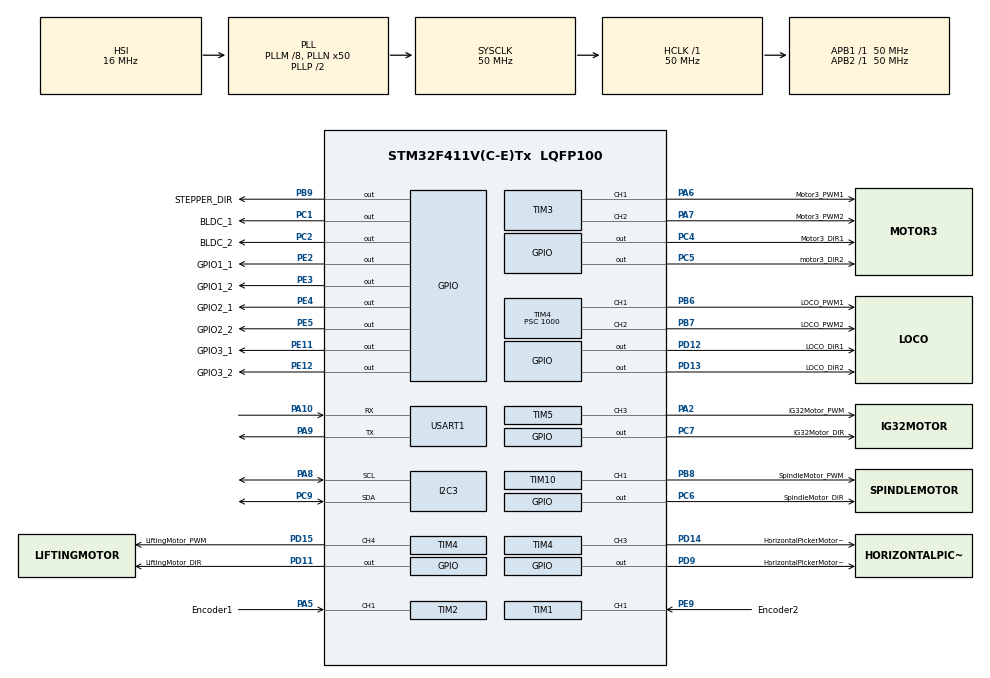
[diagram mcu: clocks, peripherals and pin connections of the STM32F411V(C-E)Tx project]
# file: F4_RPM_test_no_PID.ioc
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Dma.Request0=USART1_RX
Dma.USART1_RX.0.Direction=DMA_PERIPH_TO_MEMORY
Dma.USART1_RX.0.FIFOMode=DMA_FIFOMODE_DISABLE
Dma.USART1_RX.0.Instance=DMA2_Stream2
Dma.USART1_RX.0.MemDataAlignment=DMA_MDATAALIGN_BYTE
Dma.USART1_RX.0.MemInc=DMA_MINC_ENABLE
Dma.USART1_RX.0.Mode=DMA_CIRCULAR
Dma.USART1_RX.0.PeriphDataAlignment=DMA_PDATAALIGN_BYTE
Dma.USART1_RX.0.PeriphInc=DMA_PINC_DISABLE
Dma.USART1_RX.0.Priority=DMA_PRIORITY_LOW
Mcu.Family=STM32F4
Mcu.Name=STM32F411V(C-E)Tx
Mcu.Package=LQFP100
NVIC.DMA2_Stream2_IRQn=true\:0\:0\:false\:false\:true\:false\:true
NVIC.PriorityGroup=NVIC_PRIORITYGROUP_4
NVIC.TIM1_BRK_TIM9_IRQn=true\:0\:0\:false\:false\:true\:true\:true
NVIC.TIM1_CC_IRQn=true\:0\:0\:false\:false\:true\:true\:true
NVIC.TIM1_UP_TIM10_IRQn=true\:0\:0\:false\:false\:true\:true\:true
NVIC.TIM2_IRQn=true\:0\:0\:false\:false\:true\:true\:true
NVIC.TIM4_IRQn=true\:0\:0\:false\:false\:true\:true\:true
NVIC.TIM5_IRQn=true\:0\:0\:false\:false\:true\:true\:true
PA10.Mode=Asynchronous
PA10.Signal=USART1_RX
PA2.GPIO_Label=IG32Motor_PWM
PA2.Signal=S_TIM5_CH3
PA5.GPIO_Label=Encoder1
PA5.Signal=S_TIM2_CH1_ETR
PA6.GPIO_Label=Motor3_PWM1
PA6.Signal=S_TIM3_CH1
PA7.GPIO_Label=Motor3_PWM2
PA7.Signal=S_TIM3_CH2
PA8.Mode=I2C
PA8.Signal=I2C3_SCL
PA9.Mode=Asynchronous
PA9.Signal=USART1_TX
PB6.GPIO_Label=LOCO_PWM1
PB6.Signal=S_TIM4_CH1
PB7.GPIO_Label=LOCO_PWM2
PB7.Signal=S_TIM4_CH2
PB8.GPIO_Label=SpindleMotor_PWM
PB8.Signal=S_TIM10_CH1
PB9.GPIO_Label=STEPPER_DIR
PB9.Signal=GPIO_Output
PC1.GPIO_Label=BLDC_1
PC1.Signal=GPIO_Output
PC2.GPIO_Label=BLDC_2
PC2.Signal=GPIO_Output
PC4.GPIO_Label=Motor3_DIR1
PC4.Signal=GPIO_Output
PC5.GPIO_Label=motor3_DIR2
PC5.Signal=GPIO_Output
PC6.GPIO_Label=SpindleMotor_DIR
PC6.Signal=GPIO_Output
PC7.GPIO_Label=IG32Motor_DIR
PC7.Signal=GPIO_Output
PC9.Mode=I2C
PC9.Signal=I2C3_SDA
PD11.GPIO_Label=LiftingMotor_DIR
PD11.Signal=GPIO_Output
PD12.GPIO_Label=LOCO_DIR1
PD12.Signal=GPIO_Output
PD13.GPIO_Label=LOCO_DIR2
PD13.Signal=GPIO_Output
PD14.GPIO_Label=HorizontalPickerMotor_PWM
PD14.Signal=S_TIM4_CH3
PD15.GPIO_Label=LiftingMotor_PWM
PD15.Signal=S_TIM4_CH4
PD9.GPIO_Label=HorizontalPickerMotor_DIR
PD9.Signal=GPIO_Output
PE11.GPIO_Label=GPIO3_1
PE11.Signal=GPIO_Output
PE12.GPIO_Label=GPIO3_2
PE12.Signal=GPIO_Output
PE2.GPIO_Label=GPIO1_1
PE2.Signal=GPIO_Output
PE3.GPIO_Label=GPIO1_2
PE3.Signal=GPIO_Output
PE4.GPIO_Label=GPIO2_1
PE4.Signal=GPIO_Output
PE5.GPIO_Label=GPIO2_2
PE5.Signal=GPIO_Output
PE9.GPIO_Label=Encoder2
PE9.Signal=S_TIM1_CH1
ProjectManager.HeapSize=0x200
ProjectManager.StackSize=0x400
ProjectManager.TargetToolchain=STM32CubeIDE
RCC.48MHZClocksFreq_Value=25000000
RCC.AHBFreq_Value=50000000
RCC.APB1Freq_Value=50000000
RCC.APB1TimFreq_Value=50000000
RCC.APB2Freq_Value=50000000
RCC.APB2TimFreq_Value=50000000
RCC.CortexFreq_Value=50000000
RCC.HCLKFreq_Value=50000000
RCC.HSE_VALUE=25000000
RCC.HSI_VALUE=16000000
RCC.LSE_VALUE=32768
RCC.PLLM=8
RCC.PLLN=50
RCC.SYSCLKFreq_VALUE=50000000
RCC.SYSCLKSource=RCC_SYSCLKSOURCE_PLLCLK
RCC.VCOOutputFreq_Value=100000000
SH.S_TIM10_CH1.0=TIM10_CH1,PWM Generation1 CH1
SH.S_TIM1_CH1.0=TIM1_CH1,Input_Capture1_from_TI1
SH.S_TIM2_CH1_ETR.0=TIM2_CH1,Input_Capture1_from_TI1
SH.S_TIM3_CH1.0=TIM3_CH1,PWM Generation1 CH1
SH.S_TIM3_CH2.0=TIM3_CH2,PWM Generation2 CH2
SH.S_TIM4_CH1.0=TIM4_CH1,PWM Generation1 CH1
SH.S_TIM4_CH2.0=TIM4_CH2,PWM Generation2 CH2
SH.S_TIM4_CH3.0=TIM4_CH3,PWM Generation3 CH3
SH.S_TIM4_CH4.0=TIM4_CH4,PWM Generation4 CH4
SH.S_TIM5_CH3.0=TIM5_CH3,PWM Generation3 CH3
TIM1.Channel-Input_Capture1_from_TI1=TIM_CHANNEL_1
TIM10.Channel=TIM_CHANNEL_1
TIM10.Period=1000-1
TIM10.Prescaler=1000-1
TIM2.Channel-Input_Capture1_from_TI1=TIM_CHANNEL_1
TIM3.Channel-PWM\ Generation1\ CH1=TIM_CHANNEL_1
TIM3.Channel-PWM\ Generation2\ CH2=TIM_CHANNEL_2
TIM4.Channel-PWM\ Generation1\ CH1=TIM_CHANNEL_1
TIM4.Channel-PWM\ Generation2\ CH2=TIM_CHANNEL_2
TIM4.Channel-PWM\ Generation3\ CH3=TIM_CHANNEL_3
TIM4.Channel-PWM\ Generation4\ CH4=TIM_CHANNEL_4
TIM4.Period=100
TIM4.Prescaler=1000
TIM5.AutoReloadPreload=TIM_AUTORELOAD_PRELOAD_DISABLE
TIM5.Channel-PWM\ Generation3\ CH3=TIM_CHANNEL_3
TIM5.Period=1000-1
TIM5.Prescaler=1000-1
TIM9.Period=100
TIM9.Prescaler=50000-1
USART1.VirtualMode=VM_ASYNC
VP_TIM10_VS_ClockSourceINT.Mode=Enable_Timer
VP_TIM1_VS_ClockSourceINT.Mode=Internal
VP_TIM2_VS_ClockSourceINT.Mode=Internal
VP_TIM5_VS_ClockSourceINT.Mode=Internal
VP_TIM9_VS_ClockSourceINT.Mode=Internal
board=custom

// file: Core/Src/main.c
/* USER CODE BEGIN Header */
/**
  ******************************************************************************
  * @file           : main.c
  * @brief          : Main program body
  ******************************************************************************
  * @attention
  *
  * <h2><center>&copy; Copyright (c) 2022 STMicroelectronics.
  * All rights reserved.</center></h2>
  *
  * This software component is licensed by ST under BSD 3-Clause license,
  * the "License"; You may not use this file except in compliance with the
  * License. You may obtain a copy of the License at:
  *                        opensource.org/licenses/BSD-3-Clause
  *
  ******************************************************************************
  */
/* USER CODE END Header */
#include "main.h"

I2C_HandleTypeDef hi2c3;

TIM_HandleTypeDef htim1;
TIM_HandleTypeDef htim2;
TIM_HandleTypeDef htim3;
TIM_HandleTypeDef htim4;
TIM_HandleTypeDef htim5;
TIM_HandleTypeDef htim9;
TIM_HandleTypeDef htim10;

UART_HandleTypeDef huart1;
DMA_HandleTypeDef hdma_usart1_rx;

void SystemClock_Config(void);
static void MX_GPIO_Init(void);
static void MX_DMA_Init(void);
static void MX_USART1_UART_Init(void);
static void MX_TIM2_Init(void);
static void MX_TIM4_Init(void);
static void MX_TIM1_Init(void);
static void MX_TIM9_Init(void);
static void MX_TIM5_Init(void);
static void MX_TIM10_Init(void);
static void MX_TIM3_Init(void);
static void MX_I2C3_Init(void);

/* USER CODE BEGIN 0 */
char rxData[3];
int lPID = 0;
int rPID = 0;
int lFlag = 0;
int rFlag = 0;
int flag = 0;
int check = 0;
uint32_t IC_Value1 = 0;
uint32_t IC_Value2 = 0;
uint32_t Difference = 0;
uint32_t Frequency = 0;
int chee =0;
uint8_t Is_First_Captured = 0;  // 0- not captured, 1- captured

uint32_t IC_Value12 = 0;
uint32_t IC_Value22 = 0;
uint32_t Difference2 = 0;
uint32_t Frequency2 = 0;
uint8_t Is_First_Captured2 = 0;  // 0- not captured, 1- captured
int PID = 0;
uint32_t errorSum = 0;
int target = 500;
float KI = 0.5;
float KP = 2;
float KD = 3;
int speed=0;
int speed2 = 0;
int prev_speed=0;
int start_stepper = 0;
int stepperIsOn = 0;
int countServo = 0;
int debounce = 0;
int checked = 0;
int stepperCount = 0;
int countBldc = 0;
int bldcDebounce = 0;
int linearDebounce=5;
int dir1=0;
int dir2=0;

//if PWM is not working then use max 40kHz of frequency for cytron driver

void HAL_TIM_IC_CaptureCallback(TIM_HandleTypeDef *htim)
{
//	HAL_GPIO_WritePin(GPIOD, GPIO_PIN_12, GPIO_PIN_SET);  //direction set

 if (htim == &htim1)  // if interrupt source is channel 1
 {
  if (Is_First_Captured==0)  // is the first value captured ?
  {
   IC_Value1 = HAL_TIM_ReadCapturedValue(htim, TIM_CHANNEL_1);  // capture the first value
   Is_First_Captured =1;  // set the first value captured as true
  }

  else if (Is_First_Captured)  // if the first is captured
  {
   IC_Value2 = HAL_TIM_ReadCapturedValue(htim, TIM_CHANNEL_1);  // capture second value

   if (IC_Value2 > IC_Value1)
   {
    Difference = IC_Value2-IC_Value1;   // calculate the difference
   }

   else if (IC_Value2 < IC_Value1)
   {
    Difference = ((0xffff-IC_Value1)+IC_Value2) +1;
   }

   else
   {
    Error_Handler();
   }

   Frequency = HAL_RCC_GetPCLK2Freq()/(50*Difference);  // calculate frequency

   Is_First_Captured = 0;  // reset the first captured
  }
 }

////////////////////////////////////////////////////////////////////////////////////////////////////////////////

 if (htim == &htim2)  // if interrupt source is channel 1
  {
   if (Is_First_Captured2==0)  // is the first value captured ?
   {
    IC_Value12 = HAL_TIM_ReadCapturedValue(htim, TIM_CHANNEL_1);  // capture the first value
    Is_First_Captured2 =1;  // set the first value captured as true
   }

   else if (Is_First_Captured2)  // if the first is captured
   {
    IC_Value2 = HAL_TIM_ReadCapturedValue(htim, TIM_CHANNEL_1);  // capture second value

    if (IC_Value22 > IC_Value12)
    {
     Difference2 = IC_Value2-IC_Value12;   // calculate the difference
    }

    else if (IC_Value22 < IC_Value12)
    {
     Difference2 = ((0xffff-IC_Value12)+IC_Value22) +1;
    }

    else
    {
     Error_Handler();
    }

    Frequency2 = HAL_RCC_GetPCLK2Freq()/(50*Difference2);  // calculate frequency

    Is_First_Captured2 = 0;  // reset the first captured
   }
  }
}

void stepper(){
	HAL_GPIO_WritePin(GPIOB,STEPPER_DIR_Pin,GPIO_PIN_SET);
	while(stepperCount<10){
		__HAL_TIM_SET_COMPARE(&htim10, TIM_CHANNEL_1,50);
	}
	start_stepper=0;
	stepperCount=0;
	__HAL_TIM_SET_COMPARE(&htim10, TIM_CHANNEL_1,0);
}

void servo(){
	//90 degree rotation
	if(countServo==0 && debounce==0){
		//__HAL_TIM_SET_COMPARE(&htim4, TIM_CHANNEL_4,50);
		__HAL_TIM_SET_COMPARE(&htim5, TIM_CHANNEL_3,125);  // duty cycle is 2.5 ms
	countServo=1;
	debounce =5;
	}else if(countServo==1 && debounce==0){
		__HAL_TIM_SET_COMPARE(&htim5, TIM_CHANNEL_3,50);
			countServo=0;
			debounce =5;
	}
}

//void linearActuator(int dir){
//	if(dir1 == 0 && linearDebounce==0){
//		 //HAL_GPIO_WritePin(GPIOC, LinearActuator_DIR1_Pin, GPIO_PIN_SET);
//		 //HAL_GPIO_WritePin(GPIOC, LinearActuator_DIR2_Pin, GPIO_PIN_RESET);
//		 dir1 = 1;
//		 linearDebounce= 5;
//	}else if(dir1 == 1 && linearDebounce==0){
//		 HAL_GPIO_WritePin(GPIOC, LinearActuator_DIR1_Pin, GPIO_PIN_RESET);
//				 dir1=0;
//				 linearDebounce=5;
//	}
//	else if(dir2==0 && linearDebounce==0){
//		HAL_GPIO_WritePin(GPIOC, LinearActuator_DIR1_Pin, GPIO_PIN_SET);
//		 HAL_GPIO_WritePin(GPIOC, LinearActuator_DIR2_Pin, GPIO_PIN_SET);
//		 dir2 = 1;
//		 linearDebounce=5;
//	}else if(dir2==1 && linearDebounce==0){
//		HAL_GPIO_WritePin(GPIOC, LinearActuator_DIR1_Pin, GPIO_PIN_RESET);
//
//		 dir2 = 0;
//		 linearDebounce=5;
//	}
//
//}
/* USER CODE END 0 */

int main(void)
{

  /* MCU Configuration--------------------------------------------------------*/

  /* Reset of all peripherals, Initializes the Flash interface and the Systick. */
  HAL_Init();

  /* Configure the system clock */
  SystemClock_Config();

  /* Initialize all configured peripherals */
  MX_GPIO_Init();
  MX_DMA_Init();
  MX_USART1_UART_Init();
  MX_TIM2_Init();
  MX_TIM4_Init();
  MX_TIM1_Init();
  MX_TIM9_Init();
  MX_TIM5_Init();
  MX_TIM10_Init();
  MX_TIM3_Init();
  MX_I2C3_Init();
  /* USER CODE BEGIN 2 */
  HAL_TIM_PWM_Start(&htim4, TIM_CHANNEL_1);//Locomotion
  HAL_TIM_PWM_Start(&htim4, TIM_CHANNEL_2);//Locomotion

	HAL_TIM_PWM_Start(&htim4, TIM_CHANNEL_3);//Passing
	HAL_TIM_PWM_Start(&htim4, TIM_CHANNEL_4);//Lifting

	 HAL_TIM_PWM_Start(&htim5, TIM_CHANNEL_1);//BLDC1
	 HAL_TIM_PWM_Start(&htim5, TIM_CHANNEL_2);//BLDC2
	 HAL_TIM_PWM_Start(&htim5, TIM_CHANNEL_3);//Servo

	 HAL_TIM_PWM_Start(&htim10, TIM_CHANNEL_1);//Stepper

	HAL_TIM_IC_Start_IT(&htim1, TIM_CHANNEL_1);//Encoder
	HAL_TIM_IC_Start_IT(&htim2, TIM_CHANNEL_1);

	HAL_TIM_Base_Start_IT(&htim9);
	HAL_UART_Receive_DMA(&huart1, (uint8_t *)rxData, 3);
	__HAL_TIM_SET_COMPARE(&htim4, TIM_CHANNEL_4,50);
	__HAL_TIM_SET_COMPARE(&htim5, TIM_CHANNEL_1,0);//bldc default 0
	__HAL_TIM_SET_COMPARE(&htim5, TIM_CHANNEL_2,0);
	__HAL_TIM_SET_COMPARE(&htim5, TIM_CHANNEL_3,0);//ig32 default 0

	////////////////////////////

	__HAL_TIM_SET_COMPARE(&htim5, TIM_CHANNEL_2,100);
  /* USER CODE END 2 */

  /* Infinite loop */
  while (1)
  {

    /* USER CODE BEGIN 3 */

//	  __HAL_TIM_SET_COMPARE(&htim4, TIM_CHANNEL_1,100);

	  if(flag){
	  	  	  		speed = Frequency/30;
	  	  	  		speed2 = Frequency2/30;
	  	  	  		errorSum = errorSum + (target - speed)*0.1;
	  	  	  	PID = (target-speed)*KP + KD*(speed - prev_speed)/0.1;// + KI*errorSum;
	  	  	  		  if(PID<0){
	  	  	  			  PID = 0;
	  	  	  		  }else if(PID>100){
	  	  	  			  PID = 100;
	  	  	  		  }
	  	  	  		  //__HAL_TIM_SET_COMPARE(&htim4, TIM_CHANNEL_1,PID);// PID*100/target);
	  	  	  		  prev_speed = speed;
	  	  	  		  flag = 0;
	  	  	  	  }

	  	  if(rxData[0] == 1) //up//Button Up
	  	  		{
	  		  HAL_GPIO_WritePin(GPIOD, LOCO_DIR1_Pin, GPIO_PIN_RESET);
	  		  HAL_GPIO_WritePin(GPIOD, LOCO_DIR2_Pin, GPIO_PIN_SET);

	  		  __HAL_TIM_SET_COMPARE(&htim4, TIM_CHANNEL_1,100);
	  		  __HAL_TIM_SET_COMPARE(&htim4, TIM_CHANNEL_2,100);
	  	  		}

	  	  //Down // Button Down
	  	  		else if (rxData[0] == 2)
	  	  		{
	  	  		  HAL_GPIO_WritePin(GPIOD, LOCO_DIR1_Pin, GPIO_PIN_SET);
	  	  		  HAL_GPIO_WritePin(GPIOD, LOCO_DIR2_Pin, GPIO_PIN_RESET);

	  	  		__HAL_TIM_SET_COMPARE(&htim4, TIM_CHANNEL_1,100);
	  	  		__HAL_TIM_SET_COMPARE(&htim4, TIM_CHANNEL_2,100);
	  	  		}

	  	  		//left // Button Left
	  	  		else if (rxData[0] == 3)
	  	  		{
	  	  			HAL_GPIO_WritePin(GPIOD, LOCO_DIR1_Pin, GPIO_PIN_SET);
	  	  			HAL_GPIO_WritePin(GPIOD, LOCO_DIR2_Pin, GPIO_PIN_SET);

	  	  		    __HAL_TIM_SET_COMPARE(&htim4,TIM_CHANNEL_1,100);
	  		        __HAL_TIM_SET_COMPARE(&htim4, TIM_CHANNEL_2,100);
	  	    }

	  	  	  //right // Button Rights
	  	  		else if (rxData[0] == 4)
	  	  		{
	  	  			HAL_GPIO_WritePin(GPIOD, LOCO_DIR1_Pin, GPIO_PIN_RESET);
				    HAL_GPIO_WritePin(GPIOD, LOCO_DIR2_Pin, GPIO_PIN_RESET);

					__HAL_TIM_SET_COMPARE(&htim4, TIM_CHANNEL_1,100);
				    __HAL_TIM_SET_COMPARE(&htim4, TIM_CHANNEL_2,100);
	  	    }

	  	  	  //Horizontal Picker //Button Square
	  	  	else if (rxData[0] == 5)
	  	  	{
	  	  		//Passing on
	  	  		HAL_GPIO_WritePin(GPIOD, HorizontalPickerMotor_DIR_Pin, GPIO_PIN_SET);

	  	  	 	__HAL_TIM_SET_COMPARE(&htim4, TIM_CHANNEL_3,80);
//
//	  	  	if(countBldc==0 && bldcDebounce == 0){
//	  	  					__HAL_TIM_SET_COMPARE(&htim5, TIM_CHANNEL_1,1000);
//	  	  					__HAL_TIM_SET_COMPARE(&htim5, TIM_CHANNEL_2,1000);
//	  	  						countBldc=1;
//	  	  						bldcDebounce = 5;
//	  	  						}
//	  	  					else if(countBldc==1 && bldcDebounce == 0){
//	  	  						__HAL_TIM_SET_COMPARE(&htim5, TIM_CHANNEL_1,0);
//	  	  						__HAL_TIM_SET_COMPARE(&htim5, TIM_CHANNEL_2,0);
//	  	  						countBldc=0;
//	  	  					bldcDebounce = 5;
//	  	  		  	  		}
	  	  	}

	  	 //toggle HorizontalPickerMOtor//Button Circle
	  	  	else if (rxData[0] == 6)
	  	  	 {
	  	  	HAL_GPIO_WritePin(GPIOD, HorizontalPickerMotor_DIR_Pin, GPIO_PIN_RESET);

	  	  		  	  	 	__HAL_TIM_SET_COMPARE(&htim4, TIM_CHANNEL_3,80);

	  	  	 }

	  	    //Spindle motor on  //Button L1
	  	  	else if(rxData[0] == 7){
//	  	  	 HAL_GPIO_WritePin(GPIOC, LinearActuator_DIR1_Pin, GPIO_PIN_SET);
//			 HAL_GPIO_WritePin(GPIOC, LinearActuator_DIR2_Pin, GPIO_PIN_SET);
//				//linearActuator(1);
	  	HAL_GPIO_WritePin(GPIOC, SpindleMotor_DIR_Pin, GPIO_PIN_RESET);

	  		  	  		  	  	 	__HAL_TIM_SET_COMPARE(&htim10, TIM_CHANNEL_1,400);

	  	  	}
//
//			//IG32 ON	  //Button R1 // L298
	  	  	else if(rxData[0] == 9){
//	  	  	 HAL_GPIO_WritePin(GPIOC, LinearActuator_DIR1_Pin, GPIO_PIN_SET);
//	  	  			 HAL_GPIO_WritePin(GPIOC, LinearActuator_DIR2_Pin, GPIO_PIN_RESET);
//	  	  			 //linearActuator(0);

	  	  	HAL_GPIO_WritePin(GPIOC, IG32Motor_DIR_Pin, GPIO_PIN_RESET);

	  	  		  	  		  	  	 	__HAL_TIM_SET_COMPARE(&htim5, TIM_CHANNEL_3,400);

	  	  	}

	  	   //BLDC ON //Button L2
	  	  	else if(rxData[0] == 8){
////	  	  	 HAL_GPIO_WritePin(GPIOA, BLDC_PWM1_Pin, GPIO_PIN_SET);
////	  	  	 HAL_GPIO_WritePin(GPIOA, BLDC_PWM2_Pin, GPIO_PIN_SET);
//				if(countBldc==0 && bldcDebounce == 0){
//					HAL_GPIO_WritePin(GPIOC, BLDC_1_Pin, GPIO_PIN_SET);
//					HAL_GPIO_WritePin(GPIOC, BLDC_2_Pin, GPIO_PIN_SET);
//					countBldc=1;
//					bldcDebounce = 5;
//					}
//				else if(countBldc==1 && bldcDebounce == 0){
//					HAL_GPIO_WritePin(GPIOC, BLDC_2_Pin, GPIO_PIN_RESET);
//				 HAL_GPIO_WritePin(GPIOC, BLDC_1_Pin, GPIO_PIN_RESET);
//					countBldc=0;
//				bldcDebounce = 5;
//	  	  		}
//	  	  	__HAL_TIM_SET_COMPARE(&htim5, TIM_CHANNEL_1,1000);
//	  	  	__HAL_TIM_SET_COMPARE(&htim5, TIM_CHANNEL_2,1000);
	  	  	}

	  	  // Stepper 90 deg//Button R2
	  	  	else if(rxData[0] == 10){
				start_stepper = 1;
				stepper();
	  	  	}
	  	  	  //Lifting Up //Button Triangle
	  	  	else if(rxData[0] == 11){
				 HAL_GPIO_WritePin(GPIOD, LiftingMotor_DIR_Pin, GPIO_PIN_SET);

				 __HAL_TIM_SET_COMPARE(&htim4, TIM_CHANNEL_4,90);
	  	  	}
	  	  	  //Lifting Down// Button Cross
	  	  	else if(rxData[0] == 12){
	  	  	  	  HAL_GPIO_WritePin(GPIOD,  LiftingMotor_DIR_Pin, GPIO_PIN_RESET);

				  __HAL_TIM_SET_COMPARE(&htim4, TIM_CHANNEL_4,90);
	  	  	}
	  	  	else{
	  	  	  	  		  	//repeating block to set PID frequency and setting tp zero
//	  	  	  	  	  check = 0;
//	  	  	  	  	HAL_GPIO_WritePin(GPIOC, GPIO_PIN_7, GPIO_PIN_RESET);
//	  	  	  	  		  	  	HAL_GPIO_WritePin(GPIOC, GPIO_PIN_8, GPIO_PIN_RESET);
	  	  //	HAL_GPIO_WritePin(GPIOC, LinearActuator_DIR1_Pin, GPIO_PIN_RESET); //linearActuator
	  	  	  	  		  	__HAL_TIM_SET_COMPARE(&htim4, TIM_CHANNEL_1,0);
	  	  	  	  		  	__HAL_TIM_SET_COMPARE(&htim4, TIM_CHANNEL_2,0);

	  	  	  	  		  	HAL_GPIO_WritePin(GPIOD, GPIO_PIN_14,GPIO_PIN_RESET );
	  	  	  	  		  	HAL_GPIO_WritePin(GPIOD, GPIO_PIN_15,GPIO_PIN_RESET );

	  	  	  	  	 __HAL_TIM_SET_COMPARE(&htim4,TIM_CHANNEL_1,0);//locomotion 0
	  	  	  	  	 __HAL_TIM_SET_COMPARE(&htim4, TIM_CHANNEL_2,0);

	  	  	  	  		  		__HAL_TIM_SET_COMPARE(&htim4, TIM_CHANNEL_3,0);//horiz picking 0
	  	  	  	  		__HAL_TIM_SET_COMPARE(&htim4, TIM_CHANNEL_4,0);//lifting 0
//
//	  	  	  	  __HAL_TIM_SET_COMPARE(&htim5, TIM_CHANNEL_1,0);//BLDC 0
//	  	  	  	  	  	  	__HAL_TIM_SET_COMPARE(&htim5, TIM_CHANNEL_2,0);//BLDC 0

	  	  	  	  	__HAL_TIM_SET_COMPARE(&htim5, TIM_CHANNEL_3,0);//Spindle
	  	  	  	  	  	  	__HAL_TIM_SET_COMPARE(&htim10, TIM_CHANNEL_1,0);//IG32

	  	  	  	  		  	    }
  }
  /* USER CODE END 3 */
}

void SystemClock_Config(void)
{
  RCC_OscInitTypeDef RCC_OscInitStruct = {0};
  RCC_ClkInitTypeDef RCC_ClkInitStruct = {0};

  /** Configure the main internal regulator output voltage
  */
  __HAL_RCC_PWR_CLK_ENABLE();
  __HAL_PWR_VOLTAGESCALING_CONFIG(PWR_REGULATOR_VOLTAGE_SCALE1);
  /** Initializes the RCC Oscillators according to the specified parameters
  * in the RCC_OscInitTypeDef structure.
  */
  RCC_OscInitStruct.OscillatorType = RCC_OSCILLATORTYPE_HSI;
  RCC_OscInitStruct.HSIState = RCC_HSI_ON;
  RCC_OscInitStruct.HSICalibrationValue = RCC_HSICALIBRATION_DEFAULT;
  RCC_OscInitStruct.PLL.PLLState = RCC_PLL_ON;
  RCC_OscInitStruct.PLL.PLLSource = RCC_PLLSOURCE_HSI;
  RCC_OscInitStruct.PLL.PLLM = 8;
  RCC_OscInitStruct.PLL.PLLN = 50;
  RCC_OscInitStruct.PLL.PLLP = RCC_PLLP_DIV2;
  RCC_OscInitStruct.PLL.PLLQ = 4;
  if (HAL_RCC_OscConfig(&RCC_OscInitStruct) != HAL_OK)
  {
    Error_Handler();
  }
  /** Initializes the CPU, AHB and APB buses clocks
  */
  RCC_ClkInitStruct.ClockType = RCC_CLOCKTYPE_HCLK|RCC_CLOCKTYPE_SYSCLK
                              |RCC_CLOCKTYPE_PCLK1|RCC_CLOCKTYPE_PCLK2;
  RCC_ClkInitStruct.SYSCLKSource = RCC_SYSCLKSOURCE_PLLCLK;
  RCC_ClkInitStruct.AHBCLKDivider = RCC_SYSCLK_DIV1;
  RCC_ClkInitStruct.APB1CLKDivider = RCC_HCLK_DIV1;
  RCC_ClkInitStruct.APB2CLKDivider = RCC_HCLK_DIV1;

  if (HAL_RCC_ClockConfig(&RCC_ClkInitStruct, FLASH_LATENCY_1) != HAL_OK)
  {
    Error_Handler();
  }
}

static void MX_I2C3_Init(void)
{

  hi2c3.Instance = I2C3;
  hi2c3.Init.ClockSpeed = 100000;
  hi2c3.Init.DutyCycle = I2C_DUTYCYCLE_2;
  hi2c3.Init.OwnAddress1 = 0;
  hi2c3.Init.AddressingMode = I2C_ADDRESSINGMODE_7BIT;
  hi2c3.Init.DualAddressMode = I2C_DUALADDRESS_DISABLE;
  hi2c3.Init.OwnAddress2 = 0;
  hi2c3.Init.GeneralCallMode = I2C_GENERALCALL_DISABLE;
  hi2c3.Init.NoStretchMode = I2C_NOSTRETCH_DISABLE;
  if (HAL_I2C_Init(&hi2c3) != HAL_OK)
  {
    Error_Handler();
  }

}

static void MX_TIM1_Init(void)
{

  TIM_ClockConfigTypeDef sClockSourceConfig = {0};
  TIM_MasterConfigTypeDef sMasterConfig = {0};
  TIM_IC_InitTypeDef sConfigIC = {0};

  htim1.Instance = TIM1;
  htim1.Init.Prescaler = 0;
  htim1.Init.CounterMode = TIM_COUNTERMODE_UP;
  htim1.Init.Period = 65535;
  htim1.Init.ClockDivision = TIM_CLOCKDIVISION_DIV1;
  htim1.Init.RepetitionCounter = 0;
  htim1.Init.AutoReloadPreload = TIM_AUTORELOAD_PRELOAD_DISABLE;
  if (HAL_TIM_Base_Init(&htim1) != HAL_OK)
  {
    Error_Handler();
  }
  sClockSourceConfig.ClockSource = TIM_CLOCKSOURCE_INTERNAL;
  if (HAL_TIM_ConfigClockSource(&htim1, &sClockSourceConfig) != HAL_OK)
  {
    Error_Handler();
  }
  if (HAL_TIM_IC_Init(&htim1) != HAL_OK)
  {
    Error_Handler();
  }
  sMasterConfig.MasterOutputTrigger = TIM_TRGO_RESET;
  sMasterConfig.MasterSlaveMode = TIM_MASTERSLAVEMODE_DISABLE;
  if (HAL_TIMEx_MasterConfigSynchronization(&htim1, &sMasterConfig) != HAL_OK)
  {
    Error_Handler();
  }
  sConfigIC.ICPolarity = TIM_INPUTCHANNELPOLARITY_RISING;
  sConfigIC.ICSelection = TIM_ICSELECTION_DIRECTTI;
  sConfigIC.ICPrescaler = TIM_ICPSC_DIV1;
  sConfigIC.ICFilter = 0;
  if (HAL_TIM_IC_ConfigChannel(&htim1, &sConfigIC, TIM_CHANNEL_1) != HAL_OK)
  {
    Error_Handler();
  }

}

static void MX_TIM2_Init(void)
{

  TIM_ClockConfigTypeDef sClockSourceConfig = {0};
  TIM_MasterConfigTypeDef sMasterConfig = {0};
  TIM_IC_InitTypeDef sConfigIC = {0};

  htim2.Instance = TIM2;
  htim2.Init.Prescaler = 0;
  htim2.Init.CounterMode = TIM_COUNTERMODE_UP;
  htim2.Init.Period = 4294967295;
  htim2.Init.ClockDivision = TIM_CLOCKDIVISION_DIV1;
  htim2.Init.AutoReloadPreload = TIM_AUTORELOAD_PRELOAD_DISABLE;
  if (HAL_TIM_Base_Init(&htim2) != HAL_OK)
  {
    Error_Handler();
  }
  sClockSourceConfig.ClockSource = TIM_CLOCKSOURCE_INTERNAL;
  if (HAL_TIM_ConfigClockSource(&htim2, &sClockSourceConfig) != HAL_OK)
  {
    Error_Handler();
  }
  if (HAL_TIM_IC_Init(&htim2) != HAL_OK)
  {
    Error_Handler();
  }
  sMasterConfig.MasterOutputTrigger = TIM_TRGO_RESET;
  sMasterConfig.MasterSlaveMode = TIM_MASTERSLAVEMODE_DISABLE;
  if (HAL_TIMEx_MasterConfigSynchronization(&htim2, &sMasterConfig) != HAL_OK)
  {
    Error_Handler();
  }
  sConfigIC.ICPolarity = TIM_INPUTCHANNELPOLARITY_RISING;
  sConfigIC.ICSelection = TIM_ICSELECTION_DIRECTTI;
  sConfigIC.ICPrescaler = TIM_ICPSC_DIV1;
  sConfigIC.ICFilter = 0;
  if (HAL_TIM_IC_ConfigChannel(&htim2, &sConfigIC, TIM_CHANNEL_1) != HAL_OK)
  {
    Error_Handler();
  }

}

static void MX_TIM3_Init(void)
{

  TIM_MasterConfigTypeDef sMasterConfig = {0};
  TIM_OC_InitTypeDef sConfigOC = {0};

  htim3.Instance = TIM3;
  htim3.Init.Prescaler = 0;
  htim3.Init.CounterMode = TIM_COUNTERMODE_UP;
  htim3.Init.Period = 65535;
  htim3.Init.ClockDivision = TIM_CLOCKDIVISION_DIV1;
  htim3.Init.AutoReloadPreload = TIM_AUTORELOAD_PRELOAD_DISABLE;
  if (HAL_TIM_PWM_Init(&htim3) != HAL_OK)
  {
    Error_Handler();
  }
  sMasterConfig.MasterOutputTrigger = TIM_TRGO_RESET;
  sMasterConfig.MasterSlaveMode = TIM_MASTERSLAVEMODE_DISABLE;
  if (HAL_TIMEx_MasterConfigSynchronization(&htim3, &sMasterConfig) != HAL_OK)
  {
    Error_Handler();
  }
  sConfigOC.OCMode = TIM_OCMODE_PWM1;
  sConfigOC.Pulse = 0;
  sConfigOC.OCPolarity = TIM_OCPOLARITY_HIGH;
  sConfigOC.OCFastMode = TIM_OCFAST_DISABLE;
  if (HAL_TIM_PWM_ConfigChannel(&htim3, &sConfigOC, TIM_CHANNEL_1) != HAL_OK)
  {
    Error_Handler();
  }
  if (HAL_TIM_PWM_ConfigChannel(&htim3, &sConfigOC, TIM_CHANNEL_2) != HAL_OK)
  {
    Error_Handler();
  }
  HAL_TIM_MspPostInit(&htim3);

}

static void MX_TIM4_Init(void)
{

  TIM_MasterConfigTypeDef sMasterConfig = {0};
  TIM_OC_InitTypeDef sConfigOC = {0};

  htim4.Instance = TIM4;
  htim4.Init.Prescaler = 1000;
  htim4.Init.CounterMode = TIM_COUNTERMODE_UP;
  htim4.Init.Period = 100;
  htim4.Init.ClockDivision = TIM_CLOCKDIVISION_DIV1;
  htim4.Init.AutoReloadPreload = TIM_AUTORELOAD_PRELOAD_DISABLE;
  if (HAL_TIM_PWM_Init(&htim4) != HAL_OK)
  {
    Error_Handler();
  }
  sMasterConfig.MasterOutputTrigger = TIM_TRGO_RESET;
  sMasterConfig.MasterSlaveMode = TIM_MASTERSLAVEMODE_DISABLE;
  if (HAL_TIMEx_MasterConfigSynchronization(&htim4, &sMasterConfig) != HAL_OK)
  {
    Error_Handler();
  }
  sConfigOC.OCMode = TIM_OCMODE_PWM1;
  sConfigOC.Pulse = 0;
  sConfigOC.OCPolarity = TIM_OCPOLARITY_HIGH;
  sConfigOC.OCFastMode = TIM_OCFAST_DISABLE;
  if (HAL_TIM_PWM_ConfigChannel(&htim4, &sConfigOC, TIM_CHANNEL_1) != HAL_OK)
  {
    Error_Handler();
  }
  if (HAL_TIM_PWM_ConfigChannel(&htim4, &sConfigOC, TIM_CHANNEL_2) != HAL_OK)
  {
    Error_Handler();
  }
  if (HAL_TIM_PWM_ConfigChannel(&htim4, &sConfigOC, TIM_CHANNEL_3) != HAL_OK)
  {
    Error_Handler();
  }
  if (HAL_TIM_PWM_ConfigChannel(&htim4, &sConfigOC, TIM_CHANNEL_4) != HAL_OK)
  {
    Error_Handler();
  }
  HAL_TIM_MspPostInit(&htim4);

}

static void MX_TIM5_Init(void)
{

  TIM_ClockConfigTypeDef sClockSourceConfig = {0};
  TIM_MasterConfigTypeDef sMasterConfig = {0};
  TIM_OC_InitTypeDef sConfigOC = {0};

  htim5.Instance = TIM5;
  htim5.Init.Prescaler = 1000-1;
  htim5.Init.CounterMode = TIM_COUNTERMODE_UP;
  htim5.Init.Period = 1000-1;
  htim5.Init.ClockDivision = TIM_CLOCKDIVISION_DIV1;
  htim5.Init.AutoReloadPreload = TIM_AUTORELOAD_PRELOAD_DISABLE;
  if (HAL_TIM_Base_Init(&htim5) != HAL_OK)
  {
    Error_Handler();
  }
  sClockSourceConfig.ClockSource = TIM_CLOCKSOURCE_INTERNAL;
  if (HAL_TIM_ConfigClockSource(&htim5, &sClockSourceConfig) != HAL_OK)
  {
    Error_Handler();
  }
  if (HAL_TIM_PWM_Init(&htim5) != HAL_OK)
  {
    Error_Handler();
  }
  sMasterConfig.MasterOutputTrigger = TIM_TRGO_RESET;
  sMasterConfig.MasterSlaveMode = TIM_MASTERSLAVEMODE_DISABLE;
  if (HAL_TIMEx_MasterConfigSynchronization(&htim5, &sMasterConfig) != HAL_OK)
  {
    Error_Handler();
  }
  sConfigOC.OCMode = TIM_OCMODE_PWM1;
  sConfigOC.Pulse = 0;
  sConfigOC.OCPolarity = TIM_OCPOLARITY_HIGH;
  sConfigOC.OCFastMode = TIM_OCFAST_DISABLE;
  if (HAL_TIM_PWM_ConfigChannel(&htim5, &sConfigOC, TIM_CHANNEL_3) != HAL_OK)
  {
    Error_Handler();
  }
  HAL_TIM_MspPostInit(&htim5);

}

static void MX_TIM9_Init(void)
{

  TIM_ClockConfigTypeDef sClockSourceConfig = {0};

  htim9.Instance = TIM9;
  htim9.Init.Prescaler = 50000-1;
  htim9.Init.CounterMode = TIM_COUNTERMODE_UP;
  htim9.Init.Period = 100;
  htim9.Init.ClockDivision = TIM_CLOCKDIVISION_DIV1;
  htim9.Init.AutoReloadPreload = TIM_AUTORELOAD_PRELOAD_DISABLE;
  if (HAL_TIM_Base_Init(&htim9) != HAL_OK)
  {
    Error_Handler();
  }
  sClockSourceConfig.ClockSource = TIM_CLOCKSOURCE_INTERNAL;
  if (HAL_TIM_ConfigClockSource(&htim9, &sClockSourceConfig) != HAL_OK)
  {
    Error_Handler();
  }

}

static void MX_TIM10_Init(void)
{

  TIM_OC_InitTypeDef sConfigOC = {0};

  htim10.Instance = TIM10;
  htim10.Init.Prescaler = 1000-1;
  htim10.Init.CounterMode = TIM_COUNTERMODE_UP;
  htim10.Init.Period = 1000-1;
  htim10.Init.ClockDivision = TIM_CLOCKDIVISION_DIV1;
  htim10.Init.AutoReloadPreload = TIM_AUTORELOAD_PRELOAD_DISABLE;
  if (HAL_TIM_Base_Init(&htim10) != HAL_OK)
  {
    Error_Handler();
  }
  if (HAL_TIM_PWM_Init(&htim10) != HAL_OK)
  {
    Error_Handler();
  }
  sConfigOC.OCMode = TIM_OCMODE_PWM1;
  sConfigOC.Pulse = 0;
  sConfigOC.OCPolarity = TIM_OCPOLARITY_HIGH;
  sConfigOC.OCFastMode = TIM_OCFAST_DISABLE;
  if (HAL_TIM_PWM_ConfigChannel(&htim10, &sConfigOC, TIM_CHANNEL_1) != HAL_OK)
  {
    Error_Handler();
  }
  HAL_TIM_MspPostInit(&htim10);

}

static void MX_USART1_UART_Init(void)
{

  huart1.Instance = USART1;
  huart1.Init.BaudRate = 115200;
  huart1.Init.WordLength = UART_WORDLENGTH_8B;
  huart1.Init.StopBits = UART_STOPBITS_1;
  huart1.Init.Parity = UART_PARITY_NONE;
  huart1.Init.Mode = UART_MODE_TX_RX;
  huart1.Init.HwFlowCtl = UART_HWCONTROL_NONE;
  huart1.Init.OverSampling = UART_OVERSAMPLING_16;
  if (HAL_UART_Init(&huart1) != HAL_OK)
  {
    Error_Handler();
  }

}

static void MX_DMA_Init(void)
{

  /* DMA controller clock enable */
  __HAL_RCC_DMA2_CLK_ENABLE();

  /* DMA interrupt init */
  /* DMA2_Stream2_IRQn interrupt configuration */
  HAL_NVIC_SetPriority(DMA2_Stream2_IRQn, 0, 0);
  HAL_NVIC_EnableIRQ(DMA2_Stream2_IRQn);

}

static void MX_GPIO_Init(void)
{
  GPIO_InitTypeDef GPIO_InitStruct = {0};

  /* GPIO Ports Clock Enable */
  __HAL_RCC_GPIOE_CLK_ENABLE();
  __HAL_RCC_GPIOC_CLK_ENABLE();
  __HAL_RCC_GPIOA_CLK_ENABLE();
  __HAL_RCC_GPIOD_CLK_ENABLE();
  __HAL_RCC_GPIOB_CLK_ENABLE();

  /*Configure GPIO pin Output Level */
  HAL_GPIO_WritePin(GPIOE, GPIO1_1_Pin|GPIO1_2_Pin|GPIO2_1_Pin|GPIO2_2_Pin
                          |GPIO3_1_Pin|GPIO3_2_Pin, GPIO_PIN_RESET);

  /*Configure GPIO pin Output Level */
  HAL_GPIO_WritePin(GPIOC, BLDC_1_Pin|BLDC_2_Pin|Motor3_DIR1_Pin|motor3_DIR2_Pin
                          |SpindleMotor_DIR_Pin|IG32Motor_DIR_Pin, GPIO_PIN_RESET);

  /*Configure GPIO pin Output Level */
  HAL_GPIO_WritePin(GPIOD, HorizontalPickerMotor_DIR_Pin|LiftingMotor_DIR_Pin|LOCO_DIR1_Pin|LOCO_DIR2_Pin, GPIO_PIN_RESET);

  /*Configure GPIO pin Output Level */
  HAL_GPIO_WritePin(STEPPER_DIR_GPIO_Port, STEPPER_DIR_Pin, GPIO_PIN_RESET);

  /*Configure GPIO pins : GPIO1_1_Pin GPIO1_2_Pin GPIO2_1_Pin GPIO2_2_Pin
                           GPIO3_1_Pin GPIO3_2_Pin */
  GPIO_InitStruct.Pin = GPIO1_1_Pin|GPIO1_2_Pin|GPIO2_1_Pin|GPIO2_2_Pin
                          |GPIO3_1_Pin|GPIO3_2_Pin;
  GPIO_InitStruct.Mode = GPIO_MODE_OUTPUT_PP;
  GPIO_InitStruct.Pull = GPIO_NOPULL;
  GPIO_InitStruct.Speed = GPIO_SPEED_FREQ_LOW;
  HAL_GPIO_Init(GPIOE, &GPIO_InitStruct);

  /*Configure GPIO pins : BLDC_1_Pin BLDC_2_Pin Motor3_DIR1_Pin motor3_DIR2_Pin
                           SpindleMotor_DIR_Pin IG32Motor_DIR_Pin */
  GPIO_InitStruct.Pin = BLDC_1_Pin|BLDC_2_Pin|Motor3_DIR1_Pin|motor3_DIR2_Pin
                          |SpindleMotor_DIR_Pin|IG32Motor_DIR_Pin;
  GPIO_InitStruct.Mode = GPIO_MODE_OUTPUT_PP;
  GPIO_InitStruct.Pull = GPIO_NOPULL;
  GPIO_InitStruct.Speed = GPIO_SPEED_FREQ_LOW;
  HAL_GPIO_Init(GPIOC, &GPIO_InitStruct);

  /*Configure GPIO pins : HorizontalPickerMotor_DIR_Pin LiftingMotor_DIR_Pin LOCO_DIR1_Pin LOCO_DIR2_Pin */
  GPIO_InitStruct.Pin = HorizontalPickerMotor_DIR_Pin|LiftingMotor_DIR_Pin|LOCO_DIR1_Pin|LOCO_DIR2_Pin;
  GPIO_InitStruct.Mode = GPIO_MODE_OUTPUT_PP;
  GPIO_InitStruct.Pull = GPIO_NOPULL;
  GPIO_InitStruct.Speed = GPIO_SPEED_FREQ_LOW;
  HAL_GPIO_Init(GPIOD, &GPIO_InitStruct);

  /*Configure GPIO pin : STEPPER_DIR_Pin */
  GPIO_InitStruct.Pin = STEPPER_DIR_Pin;
  GPIO_InitStruct.Mode = GPIO_MODE_OUTPUT_PP;
  GPIO_InitStruct.Pull = GPIO_NOPULL;
  GPIO_InitStruct.Speed = GPIO_SPEED_FREQ_LOW;
  HAL_GPIO_Init(STEPPER_DIR_GPIO_Port, &GPIO_InitStruct);

}

/* USER CODE BEGIN 4 */
void HAL_TIM_PeriodElapsedCallback(TIM_HandleTypeDef *htim)
{
	//test +=1;
	if(linearDebounce>0){
		linearDebounce--;

	}
	if(bldcDebounce>0){
		bldcDebounce--;
	}
	if(debounce>0){
				debounce --;
			}
	if(start_stepper){
		stepperCount+=1;
	}
	if(htim == &htim9){  //updates every 100ms
		flag = 1;

	}
	if(start_stepper){
		stepperIsOn += 1;
		if(stepperIsOn == 10){
			start_stepper = 0;
			stepperIsOn = 0;
		}
	}

}
/* USER CODE END 4 */

void Error_Handler(void)
{
  __disable_irq();
  while (1)
  {
  }
}

/************************ (C) COPYRIGHT STMicroelectronics *****END OF FILE****/
